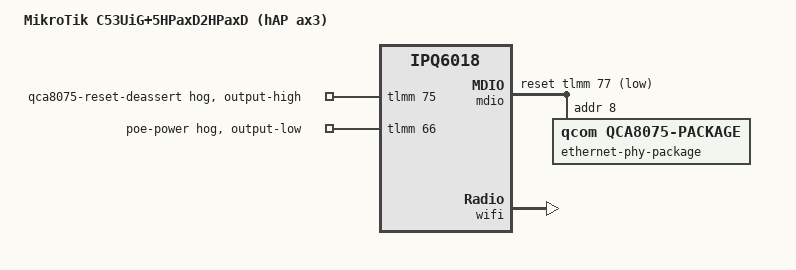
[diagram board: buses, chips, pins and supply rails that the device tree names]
// SPDX-License-Identifier: GPL-2.0-or-later OR MIT

/dts-v1/;

#include "ipq6010-mikrotik-c53-s53.dtsi"

/ {
	model = "MikroTik C53UiG+5HPaxD2HPaxD (hAP ax3)";
	compatible = "mikrotik,hap-ax3", "qcom,ipq6018";

	aliases {
		label-mac-device = &switch_port5;
	};
};

&mdio {
	/*
	 * Pulling GPIO77 low removes all PHYs from the MDIO bus and drops the
	 * QCA8081 link. Pulse it as the shared PHY-domain reset.
	 */
	reset-gpios = <&tlmm 77 GPIO_ACTIVE_LOW>;

	ethernet-phy-package@8 {
		compatible = "qcom,qca8075-package";
		#address-cells = <1>;
		#size-cells = <0>;
		reg = <0x08>;
		qcom,package-mode = "psgmii";
		qcom,tx-drive-strength-milliwatt = <300>;

		qca8075_0: ethernet-phy@8 {
			compatible = "ethernet-phy-ieee802.3-c22";
			reg = <0x08>;
		};

		qca8075_1: ethernet-phy@9 {
			compatible = "ethernet-phy-ieee802.3-c22";
			reg = <0x09>;
		};

		qca8075_2: ethernet-phy@a {
			compatible = "ethernet-phy-ieee802.3-c22";
			reg = <0x0a>;
		};

		qca8075_3: ethernet-phy@b {
			compatible = "ethernet-phy-ieee802.3-c22";
			reg = <0x0b>;
		};
	};
};

&tlmm {
	/*
	 * RouterOS declares GPIO75 as its PHY reset. Keep it deasserted so that
	 * the QCA8075 remains available independently of the shared reset.
	 */
	qca8075-reset-deassert {
		gpio-hog;
		gpios = <75 GPIO_ACTIVE_HIGH>;
		output-high;
		line-name = "qca8075-reset-deassert";
	};

	/*
	 * RouterOS controls PoE-out through GPIO 66. Keep it off until a Linux
	 * PSE driver describes the current-sense input and power sequencing.
	 */
	poe-power-hog {
		gpio-hog;
		gpios = <66 GPIO_ACTIVE_HIGH>;
		output-low;
		line-name = "poe-power";
	};
};

&board_leds {
	wan {
		color = <LED_COLOR_ID_GREEN>;
		function = LED_FUNCTION_WAN;
		gpios = <&tlmm 23 GPIO_ACTIVE_HIGH>;
	};

	lan1 {
		color = <LED_COLOR_ID_GREEN>;
		function = LED_FUNCTION_LAN;
		function-enumerator = <1>;
		gpios = <&tlmm 24 GPIO_ACTIVE_HIGH>;
	};

	lan2 {
		color = <LED_COLOR_ID_GREEN>;
		function = LED_FUNCTION_LAN;
		function-enumerator = <2>;
		gpios = <&tlmm 25 GPIO_ACTIVE_HIGH>;
	};

	lan3 {
		color = <LED_COLOR_ID_GREEN>;
		function = LED_FUNCTION_LAN;
		function-enumerator = <3>;
		gpios = <&tlmm 26 GPIO_ACTIVE_HIGH>;
	};

	lan4 {
		color = <LED_COLOR_ID_GREEN>;
		function = LED_FUNCTION_LAN;
		function-enumerator = <4>;
		gpios = <&tlmm 27 GPIO_ACTIVE_HIGH>;
	};

	poe {
		color = <LED_COLOR_ID_RED>;
		function = "poe";
		gpios = <&tlmm 29 GPIO_ACTIVE_HIGH>;
	};
};

/*
 * The hAP ax3 has the same QCA8075 + QCA8081 topology as the Chateau.
 * Its QCA8075 is strapped at MDIO addresses 0x08 through 0x0c, rather than
 * the Chateau's 0x18 through 0x1c. The socket order and factory MAC address
 * allocation below were verified on hardware. Ether1 is the 2.5G WAN port.
 */
&switch_port1 {
	label = "lan4";
	nvmem-cells = <&macaddr_hard 4>;
	nvmem-cell-names = "mac-address";
};

&switch_port2 {
	label = "lan3";
	nvmem-cells = <&macaddr_hard 3>;
	nvmem-cell-names = "mac-address";
};

&switch_port3 {
	label = "lan2";
	nvmem-cells = <&macaddr_hard 2>;
	nvmem-cell-names = "mac-address";
};

&switch_port4 {
	label = "lan1";
	nvmem-cells = <&macaddr_hard 1>;
	nvmem-cell-names = "mac-address";
};

&switch_port5 {
	label = "wan";
	nvmem-cells = <&macaddr_hard 0>;
	nvmem-cell-names = "mac-address";
};

&wifi {
	qcom,ath11k-calibration-variant = "MikroTik-hAP-ax3";
};
